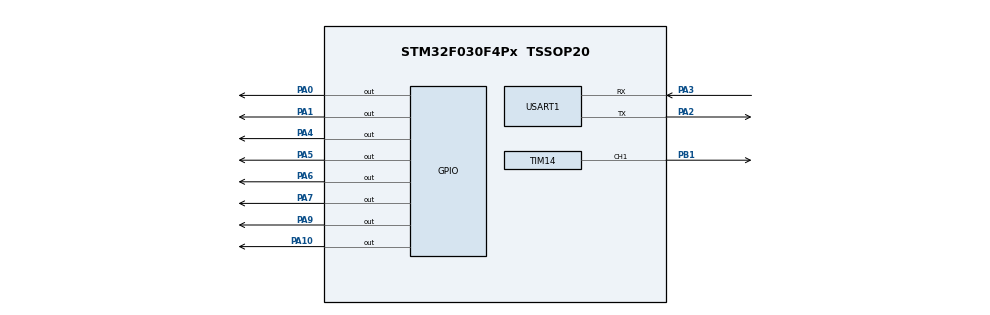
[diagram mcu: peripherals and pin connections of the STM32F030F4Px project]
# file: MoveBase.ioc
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Mcu.Family=STM32F0
Mcu.Name=STM32F030F4Px
Mcu.Package=TSSOP20
NVIC.USART1_IRQn=true\:0\:0\:false\:false\:true\:true\:true
PA0.Signal=GPIO_Output
PA1.Signal=GPIO_Output
PA10.Signal=GPIO_Output
PA13.Mode=Serial_Wire
PA13.Signal=SYS_SWDIO
PA14.Mode=Serial_Wire
PA14.Signal=SYS_SWCLK
PA2.Mode=Asynchronous
PA2.Signal=USART1_TX
PA3.Mode=Asynchronous
PA3.Signal=USART1_RX
PA4.Signal=GPIO_Output
PA5.Signal=GPIO_Output
PA6.Signal=GPIO_Output
PA7.Signal=GPIO_Output
PA9.Signal=GPIO_Output
PB1.Signal=S_TIM14_CH1
ProjectManager.HeapSize=0x200
ProjectManager.StackSize=0x400
ProjectManager.TargetToolchain=STM32CubeIDE
SH.S_TIM14_CH1.0=TIM14_CH1,PWM Generation1 CH1
TIM14.Channel=TIM_CHANNEL_1
USART1.VirtualMode-Asynchronous=VM_ASYNC
VP_TIM14_VS_ClockSourceINT.Mode=Enable_Timer
board=custom

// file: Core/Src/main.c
/* USER CODE BEGIN Header */
/**
 ******************************************************************************
 * @file           : main.c
 * @brief          : Main program body
 ******************************************************************************
 * @attention
 *
 * <h2><center>&copy; Copyright (c) 2020 STMicroelectronics.
 * All rights reserved.</center></h2>
 *
 * This software component is licensed by ST under BSD 3-Clause license,
 * the "License"; You may not use this file except in compliance with the
 * License. You may obtain a copy of the License at:
 *                        opensource.org/licenses/BSD-3-Clause
 *
 ******************************************************************************
 */
/* USER CODE END Header */

#include "main.h"

/* USER CODE BEGIN Includes */
#include<stdio.h>
#include<string.h>
/* USER CODE END Includes */

/* USER CODE BEGIN PM */
#define CMD_LINE_CHAR	'\n'
#define CMD_ENTER_CHAR	'\r'

#ifndef ARRAY_SIZE
#define ARRAY_SIZE(a) (sizeof(a)/sizeof((a)[0]))
#endif

#define DEBUG_INFO printf

/* USER CODE END PM */

TIM_HandleTypeDef htim14;

UART_HandleTypeDef huart1;

/* USER CODE BEGIN PV */
static int errCode=0;
static int lastSpeed=-1;
static int lastDir[4];
/* USER CODE END PV */

void SystemClock_Config(void);
static void MX_GPIO_Init(void);
static void MX_USART1_UART_Init(void);
static void MX_TIM14_Init(void);

/* USER CODE BEGIN 0 */
static void coarse_delay_ms(int ms) {
	volatile int i, j;
	for (i = 0; i < ms; i++)
		for (j = 0; j < 500; j++)
			;
}
static void setMotorSpeed(int speed) {
	TIM_OC_InitTypeDef sConfigOC = {0};

	HAL_TIM_PWM_Stop(&htim14, TIM_CHANNEL_1);
	if(speed>0){
		if(speed>100){
			speed=100;
		}
		sConfigOC.OCMode = TIM_OCMODE_PWM1;
		sConfigOC.Pulse = speed-1;
		sConfigOC.OCPolarity = TIM_OCPOLARITY_HIGH;
		sConfigOC.OCFastMode = TIM_OCFAST_DISABLE;
		if (HAL_TIM_PWM_ConfigChannel(&htim14, &sConfigOC, TIM_CHANNEL_1) != HAL_OK)
		{
			Error_Handler();
		}
		HAL_TIM_PWM_Start(&htim14, TIM_CHANNEL_1);
	}
	lastSpeed=speed;
}
struct MotorCfg {
	uint16_t port1;
	uint16_t port2;
};
struct MotorCtl {
	GPIO_PinState value1;
	GPIO_PinState value2;
};
enum {
	DIR_POS = 0,
	DIR_NEG,
	DIR_STOP
};
static void setMotorPar(int idx, int dir) {
	static struct MotorCfg cfg[] = {
			{ GPIO_PIN_4,GPIO_PIN_5 },
			{ GPIO_PIN_0, GPIO_PIN_1 },
			{ GPIO_PIN_6, GPIO_PIN_7 },
			{ GPIO_PIN_9, GPIO_PIN_10 }
	};
	static struct MotorCtl ctl[] = {
			{ GPIO_PIN_RESET, GPIO_PIN_SET },
			{ GPIO_PIN_SET, GPIO_PIN_RESET },
			{ GPIO_PIN_RESET, GPIO_PIN_RESET }
	};
	HAL_GPIO_WritePin(GPIOA, cfg[idx].port1, ctl[dir].value1);
	HAL_GPIO_WritePin(GPIOA, cfg[idx].port2, ctl[dir].value2);
	lastDir[idx]=dir;
}
static void stopMotor()
{
	int i;
	setMotorSpeed(0);
	coarse_delay_ms(50);
	for(i=0;i<4;i++){
		setMotorPar(i, DIR_STOP);
	}
}
static int getCmd(char *cmd, int *size) {
	int i, ret;
	char last;
	for (i = 0; i < *size;) {
		__HAL_UART_CLEAR_OREFLAG(&huart1);
		__HAL_UART_CLEAR_NEFLAG(&huart1);
		if ((ret = HAL_UART_Receive(&huart1, (uint8_t*) cmd + i, 1, 1000))
				!= HAL_OK) {
			*size=i;
			errCode=ret;
			return -1;
		}

		if (cmd[i] == CMD_LINE_CHAR) {
			if (i > 0 && last == CMD_ENTER_CHAR) {
				i--;
			}
			break;
		}

		last = cmd[i++];
	}
	*size=i;
	return 0;
}
static int getDir(char d)
{
	if(d=='0'){
		return DIR_POS;
	}else if(d=='1'){
		return DIR_NEG;
	}else{
		return DIR_STOP;
	}
}
//"OFF",stop motor
//S[speed]D[dir0]D[dir1]D[dir2]D[dir3] -> "S100D0D0D0D0",0->DIR_POS,1->DIR_NEG
static void processCmd(char *cmd, int endIdx) {
	int i,speed,changed;
	char d[4];
	cmd[endIdx] = '\0';
	DEBUG_INFO("Receive command:%s\r\n",cmd);
	if(strcmp(cmd,"OFF")==0){
		stopMotor();
		return;
	}else if(cmd[0]=='S'&&sscanf(cmd,"S%dD%cD%cD%cD%c",&speed,&d[0],&d[1],&d[2],&d[3])==5){
		if(speed<0){
			goto invalid_cmd;
		}
		for(i=0;i<4;i++){
			if(d[i]!='0'&&d[i]!='1'&&d[i]!='2'){
				goto invalid_cmd;
			}
		}
		changed=0;
		if(lastSpeed<0||lastSpeed!=speed){
			changed=1;
		}else{
			for(i=0;i<4;i++){
				if(getDir(d[i])!=lastDir[i]){
					changed=1;
					break;
				}
			}
		}
		if(!changed){
			DEBUG_INFO("not change,unset\r\n");
			return;
		}
		setMotorSpeed(0);
		coarse_delay_ms(20);
		for(i=0;i<4;i++){
			setMotorPar(i, getDir(d[i]));
		}
		coarse_delay_ms(20);
		setMotorSpeed(speed);
		return;
	}
invalid_cmd:
	DEBUG_INFO("Invalid command:%s\r\n",cmd);
}
static void motorLoop() {
	int ret;
	char cmd[32];
	int size;

	while (1) {
		size=ARRAY_SIZE(cmd);
		ret = getCmd(cmd, &size);
		if(ret<0){
			DEBUG_INFO("receive error, reason=%d，size=%d \r\n",errCode,size);
			stopMotor(0);
			continue;
		}
		if (size == ARRAY_SIZE(cmd)) {
			DEBUG_INFO("Command overflow\r\n");
		} else {
			processCmd(cmd, size);
		}
	}
}
#ifdef DEBUG
static void testLoop()
{
	int idx=0;
	setMotorSpeed(100);
	while(1){
		setMotorPar(idx, DIR_POS);
		coarse_delay_ms(2000);
		setMotorPar(idx, DIR_STOP);
		coarse_delay_ms(2000);
		if(++idx==4){
			idx=0;
		}
	}
}
#endif
/* USER CODE END 0 */

int main(void)
{

  /* MCU Configuration--------------------------------------------------------*/

  /* Reset of all peripherals, Initializes the Flash interface and the Systick. */
  HAL_Init();

  /* Configure the system clock */
  SystemClock_Config();

  /* Initialize all configured peripherals */
  MX_GPIO_Init();
  MX_USART1_UART_Init();
  MX_TIM14_Init();
  /* USER CODE BEGIN 2 */
  motorLoop();
  /* USER CODE END 2 */

  /* Infinite loop */

    /* USER CODE BEGIN 3 */
#ifdef DEBUG
	//testLoop();
#endif
  /* USER CODE END 3 */
}

void SystemClock_Config(void)
{
  RCC_OscInitTypeDef RCC_OscInitStruct = {0};
  RCC_ClkInitTypeDef RCC_ClkInitStruct = {0};
  RCC_PeriphCLKInitTypeDef PeriphClkInit = {0};

  /** Initializes the CPU, AHB and APB busses clocks
  */
  RCC_OscInitStruct.OscillatorType = RCC_OSCILLATORTYPE_HSI;
  RCC_OscInitStruct.HSIState = RCC_HSI_ON;
  RCC_OscInitStruct.HSICalibrationValue = RCC_HSICALIBRATION_DEFAULT;
  RCC_OscInitStruct.PLL.PLLState = RCC_PLL_NONE;
  if (HAL_RCC_OscConfig(&RCC_OscInitStruct) != HAL_OK)
  {
    Error_Handler();
  }
  /** Initializes the CPU, AHB and APB busses clocks
  */
  RCC_ClkInitStruct.ClockType = RCC_CLOCKTYPE_HCLK|RCC_CLOCKTYPE_SYSCLK
                              |RCC_CLOCKTYPE_PCLK1;
  RCC_ClkInitStruct.SYSCLKSource = RCC_SYSCLKSOURCE_HSI;
  RCC_ClkInitStruct.AHBCLKDivider = RCC_SYSCLK_DIV1;
  RCC_ClkInitStruct.APB1CLKDivider = RCC_HCLK_DIV1;

  if (HAL_RCC_ClockConfig(&RCC_ClkInitStruct, FLASH_LATENCY_0) != HAL_OK)
  {
    Error_Handler();
  }
  PeriphClkInit.PeriphClockSelection = RCC_PERIPHCLK_USART1;
  PeriphClkInit.Usart1ClockSelection = RCC_USART1CLKSOURCE_PCLK1;
  if (HAL_RCCEx_PeriphCLKConfig(&PeriphClkInit) != HAL_OK)
  {
    Error_Handler();
  }
}

static void MX_TIM14_Init(void)
{

  TIM_OC_InitTypeDef sConfigOC = {0};

  htim14.Instance = TIM14;
  htim14.Init.Prescaler = 2399;
  htim14.Init.CounterMode = TIM_COUNTERMODE_UP;
  htim14.Init.Period = 99;
  htim14.Init.ClockDivision = TIM_CLOCKDIVISION_DIV1;
  htim14.Init.AutoReloadPreload = TIM_AUTORELOAD_PRELOAD_DISABLE;
  if (HAL_TIM_Base_Init(&htim14) != HAL_OK)
  {
    Error_Handler();
  }
  if (HAL_TIM_PWM_Init(&htim14) != HAL_OK)
  {
    Error_Handler();
  }
  sConfigOC.OCMode = TIM_OCMODE_PWM1;
  sConfigOC.Pulse = 49;
  sConfigOC.OCPolarity = TIM_OCPOLARITY_HIGH;
  sConfigOC.OCFastMode = TIM_OCFAST_DISABLE;
  if (HAL_TIM_PWM_ConfigChannel(&htim14, &sConfigOC, TIM_CHANNEL_1) != HAL_OK)
  {
    Error_Handler();
  }
  HAL_TIM_MspPostInit(&htim14);

}

static void MX_USART1_UART_Init(void)
{

  huart1.Instance = USART1;
  huart1.Init.BaudRate = 38400;
  huart1.Init.WordLength = UART_WORDLENGTH_8B;
  huart1.Init.StopBits = UART_STOPBITS_1;
  huart1.Init.Parity = UART_PARITY_NONE;
  huart1.Init.Mode = UART_MODE_TX_RX;
  huart1.Init.HwFlowCtl = UART_HWCONTROL_NONE;
  huart1.Init.OverSampling = UART_OVERSAMPLING_16;
  huart1.Init.OneBitSampling = UART_ONE_BIT_SAMPLE_DISABLE;
  huart1.AdvancedInit.AdvFeatureInit = UART_ADVFEATURE_NO_INIT;
  if (HAL_UART_Init(&huart1) != HAL_OK)
  {
    Error_Handler();
  }

}

static void MX_GPIO_Init(void)
{
  GPIO_InitTypeDef GPIO_InitStruct = {0};

  /* GPIO Ports Clock Enable */
  __HAL_RCC_GPIOA_CLK_ENABLE();
  __HAL_RCC_GPIOB_CLK_ENABLE();

  /*Configure GPIO pin Output Level */
  HAL_GPIO_WritePin(GPIOA, GPIO_PIN_0|GPIO_PIN_1|GPIO_PIN_4|GPIO_PIN_5
                          |GPIO_PIN_6|GPIO_PIN_7|GPIO_PIN_9|GPIO_PIN_10, GPIO_PIN_RESET);

  /*Configure GPIO pins : PA0 PA1 PA4 PA5
                           PA6 PA7 PA9 PA10 */
  GPIO_InitStruct.Pin = GPIO_PIN_0|GPIO_PIN_1|GPIO_PIN_4|GPIO_PIN_5
                          |GPIO_PIN_6|GPIO_PIN_7|GPIO_PIN_9|GPIO_PIN_10;
  GPIO_InitStruct.Mode = GPIO_MODE_OUTPUT_PP;
  GPIO_InitStruct.Pull = GPIO_NOPULL;
  GPIO_InitStruct.Speed = GPIO_SPEED_FREQ_LOW;
  HAL_GPIO_Init(GPIOA, &GPIO_InitStruct);

}

void Error_Handler(void)
{
}

/************************ (C) COPYRIGHT STMicroelectronics *****END OF FILE****/
